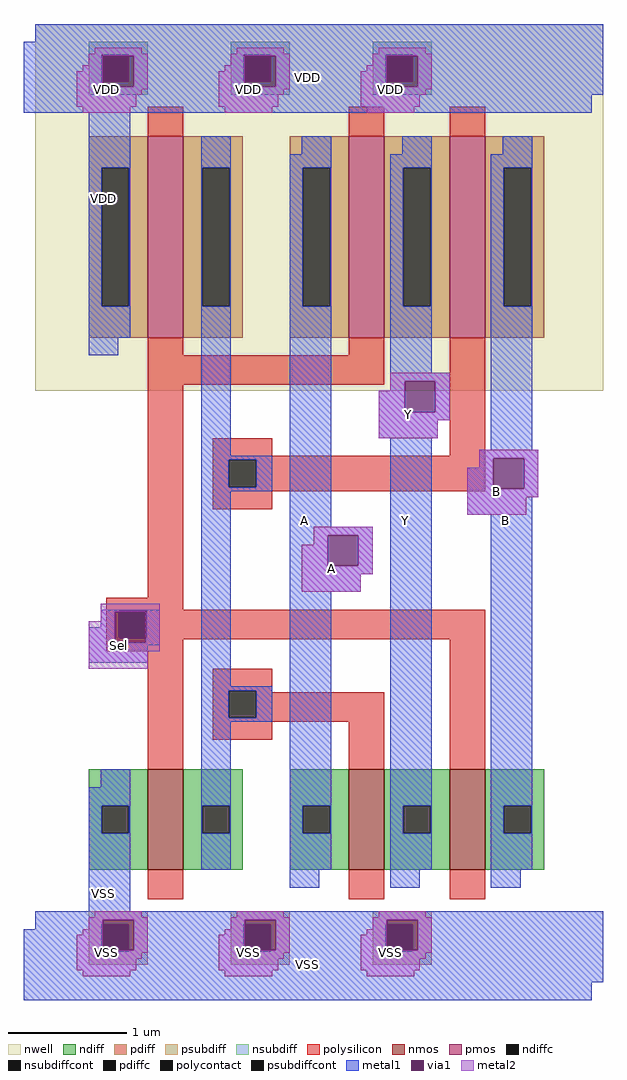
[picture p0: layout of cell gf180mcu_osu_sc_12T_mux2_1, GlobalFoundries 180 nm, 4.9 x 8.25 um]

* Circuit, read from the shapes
.subckt gf180mcu_osu_sc_12T_mux2_1 Y Sel A B VDD VSS
XM1 n1 Sel VSS VSS nfet_03v3 w=0.85u l=0.3u
XM2 Y n1 A VSS nfet_03v3 w=0.85u l=0.3u
XM3 B Sel Y VSS nfet_03v3 w=0.85u l=0.3u
XM4 n1 Sel VDD VDD pfet_03v3 w=1.7u l=0.3u
XM5 Y Sel A VDD pfet_03v3 w=1.7u l=0.3u
XM6 B n1 Y VDD pfet_03v3 w=1.7u l=0.3u
.ends

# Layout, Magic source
magic
tech gf180mcuC
magscale 1 10
<< nwell >>
rect 0 1000 960 1620
<< nmos >>
rect 190 190 250 360
rect 530 190 590 360
rect 700 190 760 360
<< pmos >>
rect 190 1090 250 1430
rect 530 1090 590 1430
rect 700 1090 760 1430
<< ndiff >>
rect 90 298 190 360
rect 90 252 112 298
rect 158 252 190 298
rect 90 190 190 252
rect 250 298 350 360
rect 250 252 282 298
rect 328 252 350 298
rect 250 190 350 252
rect 430 298 530 360
rect 430 252 452 298
rect 498 252 530 298
rect 430 190 530 252
rect 590 298 700 360
rect 590 252 622 298
rect 668 252 700 298
rect 590 190 700 252
rect 760 298 860 360
rect 760 252 792 298
rect 838 252 860 298
rect 760 190 860 252
<< pdiff >>
rect 90 1377 190 1430
rect 90 1143 112 1377
rect 158 1143 190 1377
rect 90 1090 190 1143
rect 250 1377 350 1430
rect 250 1143 282 1377
rect 328 1143 350 1377
rect 250 1090 350 1143
rect 430 1377 530 1430
rect 430 1143 452 1377
rect 498 1143 530 1377
rect 430 1090 530 1143
rect 590 1377 700 1430
rect 590 1143 622 1377
rect 668 1143 700 1377
rect 590 1090 700 1143
rect 760 1377 860 1430
rect 760 1143 792 1377
rect 838 1143 860 1377
rect 760 1090 860 1143
<< ndiffc >>
rect 112 252 158 298
rect 282 252 328 298
rect 452 252 498 298
rect 622 252 668 298
rect 792 252 838 298
<< pdiffc >>
rect 112 1143 158 1377
rect 282 1143 328 1377
rect 452 1143 498 1377
rect 622 1143 668 1377
rect 792 1143 838 1377
<< psubdiff >>
rect 90 98 190 120
rect 90 52 112 98
rect 158 52 190 98
rect 90 30 190 52
rect 330 98 430 120
rect 330 52 352 98
rect 398 52 430 98
rect 330 30 430 52
rect 570 98 670 120
rect 570 52 592 98
rect 638 52 670 98
rect 570 30 670 52
<< nsubdiff >>
rect 90 1568 190 1590
rect 90 1522 112 1568
rect 158 1522 190 1568
rect 90 1500 190 1522
rect 330 1568 430 1590
rect 330 1522 352 1568
rect 398 1522 430 1568
rect 330 1500 430 1522
rect 570 1568 670 1590
rect 570 1522 592 1568
rect 638 1522 670 1568
rect 570 1500 670 1522
<< psubdiffcont >>
rect 112 52 158 98
rect 352 52 398 98
rect 592 52 638 98
<< nsubdiffcont >>
rect 112 1522 158 1568
rect 352 1522 398 1568
rect 592 1522 638 1568
<< polysilicon >>
rect 190 1430 250 1480
rect 530 1430 590 1480
rect 700 1430 760 1480
rect 190 1060 250 1090
rect 530 1060 590 1090
rect 190 1010 590 1060
rect 190 650 250 1010
rect 300 890 400 920
rect 700 890 760 1090
rect 300 883 760 890
rect 300 837 327 883
rect 373 837 760 883
rect 300 830 760 837
rect 300 800 400 830
rect 120 630 250 650
rect 120 628 760 630
rect 120 582 142 628
rect 188 582 760 628
rect 120 580 760 582
rect 120 560 250 580
rect 190 360 250 560
rect 300 493 400 530
rect 300 447 327 493
rect 373 490 400 493
rect 373 447 590 490
rect 300 440 590 447
rect 300 410 400 440
rect 530 360 590 440
rect 700 360 760 580
rect 190 140 250 190
rect 530 140 590 190
rect 700 140 760 190
<< polycontact >>
rect 327 837 373 883
rect 142 582 188 628
rect 327 447 373 493
<< metal1 >>
rect 0 1590 960 1620
rect -20 1568 960 1590
rect -20 1522 112 1568
rect 158 1566 352 1568
rect 398 1566 592 1568
rect 638 1566 960 1568
rect 166 1522 352 1566
rect 406 1522 592 1566
rect -20 1514 114 1522
rect 166 1514 354 1522
rect 406 1514 594 1522
rect 646 1514 960 1566
rect -20 1500 960 1514
rect -20 1470 940 1500
rect 90 1377 160 1470
rect 90 1143 112 1377
rect 158 1143 160 1377
rect 90 1090 160 1143
rect 280 1377 330 1430
rect 450 1400 500 1430
rect 620 1400 670 1430
rect 790 1400 840 1430
rect 280 1143 282 1377
rect 328 1143 330 1377
rect 90 1060 140 1090
rect 280 890 330 1143
rect 430 1377 500 1400
rect 430 1143 452 1377
rect 498 1143 500 1377
rect 280 883 400 890
rect 280 837 327 883
rect 373 837 400 883
rect 280 830 400 837
rect 110 628 210 630
rect 110 626 142 628
rect 110 600 134 626
rect 90 574 134 600
rect 188 582 210 628
rect 186 574 210 582
rect 90 570 210 574
rect 90 540 190 570
rect 280 500 330 830
rect 430 770 500 1143
rect 600 1377 670 1400
rect 600 1143 622 1377
rect 668 1143 670 1377
rect 600 1030 670 1143
rect 770 1377 840 1400
rect 770 1143 792 1377
rect 838 1143 840 1377
rect 600 1016 700 1030
rect 600 1000 624 1016
rect 580 964 624 1000
rect 676 964 700 1016
rect 580 950 700 964
rect 580 920 680 950
rect 430 756 570 770
rect 430 704 494 756
rect 546 704 570 756
rect 430 690 570 704
rect 430 660 550 690
rect 280 493 400 500
rect 280 447 327 493
rect 373 447 400 493
rect 280 440 400 447
rect 110 330 160 360
rect 90 298 160 330
rect 90 252 112 298
rect 158 252 160 298
rect 90 120 160 252
rect 280 298 330 440
rect 280 252 282 298
rect 328 252 330 298
rect 280 190 330 252
rect 430 298 500 660
rect 430 252 452 298
rect 498 252 500 298
rect 430 190 500 252
rect 600 298 670 920
rect 770 900 840 1143
rect 750 886 850 900
rect 750 870 774 886
rect 730 834 774 870
rect 826 834 850 886
rect 730 820 850 834
rect 730 790 840 820
rect 600 252 622 298
rect 668 252 670 298
rect 600 190 670 252
rect 770 298 840 790
rect 770 252 792 298
rect 838 252 840 298
rect 770 190 840 252
rect 430 160 480 190
rect 600 160 650 190
rect 770 160 820 190
rect 0 106 960 120
rect 0 98 114 106
rect 166 98 354 106
rect 406 98 594 106
rect 0 90 112 98
rect -20 52 112 90
rect 166 54 352 98
rect 406 54 592 98
rect 646 54 960 106
rect 158 52 352 54
rect 398 52 592 54
rect 638 52 960 54
rect -20 0 960 52
rect -20 -30 940 0
<< via1 >>
rect 114 1522 158 1566
rect 158 1522 166 1566
rect 354 1522 398 1566
rect 398 1522 406 1566
rect 594 1522 638 1566
rect 638 1522 646 1566
rect 114 1514 166 1522
rect 354 1514 406 1522
rect 594 1514 646 1522
rect 134 582 142 626
rect 142 582 186 626
rect 134 574 186 582
rect 624 964 676 1016
rect 494 704 546 756
rect 774 834 826 886
rect 114 98 166 106
rect 354 98 406 106
rect 594 98 646 106
rect 114 54 158 98
rect 158 54 166 98
rect 354 54 398 98
rect 398 54 406 98
rect 594 54 638 98
rect 638 54 646 98
<< metal2 >>
rect 100 1570 180 1580
rect 340 1570 420 1580
rect 580 1570 660 1580
rect 90 1566 190 1570
rect 90 1550 114 1566
rect 80 1540 114 1550
rect 70 1514 114 1540
rect 166 1514 190 1566
rect 330 1566 430 1570
rect 330 1550 354 1566
rect 320 1540 354 1550
rect 70 1510 190 1514
rect 310 1514 354 1540
rect 406 1514 430 1566
rect 570 1566 670 1570
rect 570 1550 594 1566
rect 560 1540 594 1550
rect 310 1510 430 1514
rect 550 1514 594 1540
rect 646 1514 670 1566
rect 550 1510 670 1514
rect 70 1500 180 1510
rect 310 1500 420 1510
rect 550 1500 660 1510
rect 70 1480 170 1500
rect 310 1480 410 1500
rect 550 1480 650 1500
rect 80 1470 160 1480
rect 320 1470 400 1480
rect 560 1470 640 1480
rect 600 1016 700 1030
rect 600 1000 624 1016
rect 580 964 624 1000
rect 676 964 700 1016
rect 580 950 700 964
rect 580 920 680 950
rect 750 886 850 900
rect 750 870 774 886
rect 730 834 774 870
rect 826 834 850 886
rect 730 820 850 834
rect 730 790 830 820
rect 470 756 570 770
rect 470 740 494 756
rect 450 704 494 740
rect 546 704 570 756
rect 450 690 570 704
rect 450 660 550 690
rect 110 626 210 640
rect 110 610 134 626
rect 90 574 134 610
rect 186 574 210 626
rect 90 560 210 574
rect 90 530 190 560
rect 100 110 180 120
rect 340 110 420 120
rect 580 110 660 120
rect 90 106 190 110
rect 90 90 114 106
rect 80 80 114 90
rect 70 54 114 80
rect 166 54 190 106
rect 330 106 430 110
rect 330 90 354 106
rect 320 80 354 90
rect 70 50 190 54
rect 310 54 354 80
rect 406 54 430 106
rect 570 106 670 110
rect 570 90 594 106
rect 560 80 594 90
rect 310 50 430 54
rect 550 54 594 80
rect 646 54 670 106
rect 550 50 670 54
rect 70 40 180 50
rect 310 40 420 50
rect 550 40 660 50
rect 70 20 170 40
rect 310 20 410 40
rect 550 20 650 40
rect 80 10 160 20
rect 320 10 400 20
rect 560 10 640 20
<< labels >>
rlabel metal2 s 80 10 160 90 4 VSS
port 11 nsew ground bidirectional
rlabel metal2 s 80 1470 160 1550 4 VDD
port 10 nsew power bidirectional abutment
rlabel metal2 s 580 920 680 1000 4 Y
port 1 nsew signal output
rlabel metal2 s 90 530 190 610 4 Sel
port 2 nsew signal output
rlabel metal2 s 450 660 550 740 4 A
port 3 nsew signal input
rlabel metal2 s 730 790 830 870 4 B
port 4 nsew signal input
rlabel metal1 s 430 160 480 1400 1 A
port 3 nsew signal input
rlabel metal1 s 430 660 550 740 1 A
port 3 nsew signal input
rlabel metal1 s 770 160 820 1400 1 B
port 4 nsew signal input
rlabel metal1 s 730 790 830 870 1 B
port 4 nsew signal input
rlabel metal1 s 90 540 190 600 1 Sel
port 2 nsew signal output
rlabel metal2 s 70 1480 170 1540 1 VDD
port 10 nsew power bidirectional abutment
rlabel metal2 s 320 1470 400 1550 1 VDD
port 10 nsew power bidirectional abutment
rlabel metal2 s 310 1480 410 1540 1 VDD
port 10 nsew power bidirectional abutment
rlabel metal2 s 560 1470 640 1550 1 VDD
port 10 nsew power bidirectional abutment
rlabel metal2 s 550 1480 650 1540 1 VDD
port 10 nsew power bidirectional abutment
rlabel metal1 s 90 1060 140 1590 1 VDD
port 10 nsew power bidirectional abutment
rlabel metal1 s -20 1470 940 1590 1 VDD
port 10 nsew power bidirectional abutment
rlabel metal2 s 70 20 170 80 1 VSS
port 11 nsew ground bidirectional
rlabel metal2 s 320 10 400 90 1 VSS
port 11 nsew ground bidirectional
rlabel metal2 s 310 20 410 80 1 VSS
port 11 nsew ground bidirectional
rlabel metal2 s 560 10 640 90 1 VSS
port 11 nsew ground bidirectional
rlabel metal2 s 550 20 650 80 1 VSS
port 11 nsew ground bidirectional
rlabel metal1 s 90 -30 140 330 1 VSS
port 11 nsew ground bidirectional
rlabel metal1 s -20 -30 940 90 1 VSS
port 11 nsew ground bidirectional
rlabel metal1 s 600 160 650 1400 1 Y
port 1 nsew signal output
rlabel metal1 s 580 920 680 1000 1 Y
port 1 nsew signal output
<< properties >>
string FIXED_BBOX -20 -30 940 1590
string GDS_END 401092
string GDS_FILE $PDKPATH/libs.ref/gf180mcu_osu_sc_12T/gds/gf180mcu_osu_sc_12T.gds
string GDS_START 392854
string LEFclass CORE
string LEFsite GF018hv5v_mcu_sc7
string LEFsymmetry X Y
<< end >>
